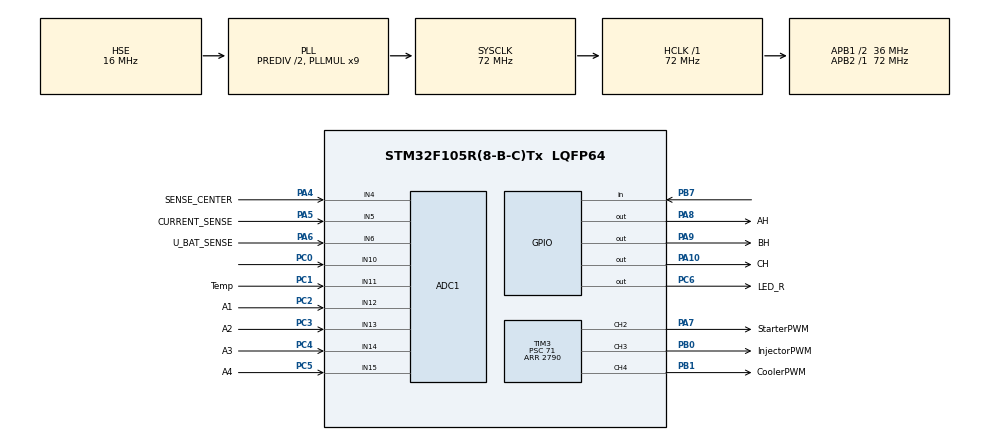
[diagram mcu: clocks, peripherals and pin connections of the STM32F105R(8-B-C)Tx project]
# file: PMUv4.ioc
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ADC1.Channel-11\#ChannelRegularConversion=ADC_CHANNEL_12
ADC1.Channel-12\#ChannelRegularConversion=ADC_CHANNEL_13
ADC1.Channel-13\#ChannelRegularConversion=ADC_CHANNEL_14
ADC1.Channel-14\#ChannelRegularConversion=ADC_CHANNEL_15
ADC1.Channel-15\#ChannelRegularConversion=ADC_CHANNEL_6
ADC1.Channel-16\#ChannelRegularConversion=ADC_CHANNEL_5
ADC1.Channel-17\#ChannelRegularConversion=ADC_CHANNEL_11
ADC1.Channel-18\#ChannelRegularConversion=ADC_CHANNEL_10
ADC1.ContinuousConvMode=ENABLE
ADC1.DataAlign=ADC_DATAALIGN_RIGHT
ADC1.DiscontinuousConvMode=DISABLE
ADC1.EnableAnalogWatchDog=false
ADC1.EnableRegularConversion=ENABLE
ADC1.ExternalTrigConvEdgeChoice=NONE
ADC1.InjNumberOfConversion=0
ADC1.NbrOfConversion=8
ADC1.NbrOfConversionFlag=1
ADC1.Rank-11\#ChannelRegularConversion=1
ADC1.Rank-12\#ChannelRegularConversion=2
ADC1.Rank-13\#ChannelRegularConversion=3
ADC1.Rank-14\#ChannelRegularConversion=4
ADC1.Rank-15\#ChannelRegularConversion=5
ADC1.Rank-16\#ChannelRegularConversion=6
ADC1.Rank-17\#ChannelRegularConversion=7
ADC1.Rank-18\#ChannelRegularConversion=8
ADC1.SamplingTime-11\#ChannelRegularConversion=ADC_SAMPLETIME_1CYCLE_5
ADC1.SamplingTime-12\#ChannelRegularConversion=ADC_SAMPLETIME_1CYCLE_5
ADC1.SamplingTime-13\#ChannelRegularConversion=ADC_SAMPLETIME_1CYCLE_5
ADC1.SamplingTime-14\#ChannelRegularConversion=ADC_SAMPLETIME_1CYCLE_5
ADC1.SamplingTime-15\#ChannelRegularConversion=ADC_SAMPLETIME_1CYCLE_5
ADC1.SamplingTime-16\#ChannelRegularConversion=ADC_SAMPLETIME_1CYCLE_5
ADC1.SamplingTime-17\#ChannelRegularConversion=ADC_SAMPLETIME_1CYCLE_5
ADC1.SamplingTime-18\#ChannelRegularConversion=ADC_SAMPLETIME_1CYCLE_5
ADC1.ScanConvMode=ADC_SCAN_ENABLE
ADC1.master=1
Dma.ADC1.0.Direction=DMA_PERIPH_TO_MEMORY
Dma.ADC1.0.Instance=DMA1_Channel1
Dma.ADC1.0.MemDataAlignment=DMA_MDATAALIGN_WORD
Dma.ADC1.0.MemInc=DMA_MINC_ENABLE
Dma.ADC1.0.Mode=DMA_CIRCULAR
Dma.ADC1.0.PeriphDataAlignment=DMA_PDATAALIGN_HALFWORD
Dma.ADC1.0.PeriphInc=DMA_PINC_DISABLE
Dma.ADC1.0.Priority=DMA_PRIORITY_LOW
Dma.Request0=ADC1
Mcu.Family=STM32F1
Mcu.Name=STM32F105R(8-B-C)Tx
Mcu.Package=LQFP64
NVIC.DMA1_Channel1_IRQn=true\:0\:0\:false\:false\:true
NVIC.PriorityGroup=NVIC_PRIORITYGROUP_4
NVIC.TIM2_IRQn=true\:0\:0\:false\:false\:true
PA10.GPIO_Label=CH
PA10.GPIO_Speed=GPIO_SPEED_FREQ_HIGH
PA10.Signal=GPIO_Output
PA13.Mode=Serial_Wire
PA13.Signal=SYS_JTMS-SWDIO
PA14.Mode=Serial_Wire
PA14.Signal=SYS_JTCK-SWCLK
PA4.GPIO_Label=SENSE_CENTER
PA4.Signal=ADCx_IN4
PA5.GPIO_Label=CURRENT_SENSE
PA5.Signal=ADCx_IN5
PA6.GPIO_Label=U_BAT_SENSE
PA6.Signal=ADCx_IN6
PA7.GPIO_Label=StarterPWM
PA7.Signal=S_TIM3_CH2
PA8.GPIO_Label=AH
PA8.GPIO_Speed=GPIO_SPEED_FREQ_HIGH
PA8.Signal=GPIO_Output
PA9.GPIO_Label=BH
PA9.GPIO_Speed=GPIO_SPEED_FREQ_HIGH
PA9.Signal=GPIO_Output
PB0.GPIO_Label=InjectorPWM
PB0.Signal=S_TIM3_CH3
PB1.GPIO_Label=CoolerPWM
PB1.Signal=S_TIM3_CH4
PB7.GPIO_PuPd=GPIO_PULLDOWN
PB7.Signal=GPIO_Input
PC0.Signal=ADCx_IN10
PC1.GPIO_Label=Temp
PC1.Signal=ADCx_IN11
PC2.GPIO_Label=A1
PC2.Signal=ADCx_IN12
PC3.GPIO_Label=A2
PC3.Signal=ADCx_IN13
PC4.GPIO_Label=A3
PC4.Signal=ADCx_IN14
PC5.GPIO_Label=A4
PC5.Signal=ADCx_IN15
PC6.GPIO_Label=LED_R
PC6.GPIO_Speed=GPIO_SPEED_FREQ_HIGH
PC6.PinState=GPIO_PIN_SET
PC6.Signal=GPIO_Output
PD0-OSC_IN.Mode=HSE-External-Oscillator
PD0-OSC_IN.Signal=RCC_OSC_IN
PD1-OSC_OUT.Mode=HSE-External-Oscillator
PD1-OSC_OUT.Signal=RCC_OSC_OUT
ProjectManager.HeapSize=0x200
ProjectManager.StackSize=0x400
ProjectManager.TargetToolchain=TrueSTUDIO
RCC.ADCPresc=RCC_ADCPCLK2_DIV6
RCC.AHBFreq_Value=72000000
RCC.APB1CLKDivider=RCC_HCLK_DIV2
RCC.APB1Freq_Value=36000000
RCC.APB1TimFreq_Value=72000000
RCC.APB2Freq_Value=72000000
RCC.APB2TimFreq_Value=72000000
RCC.HCLKFreq_Value=72000000
RCC.HSEDivPLL=RCC_HSE_PREDIV_DIV2
RCC.HSE_VALUE=16000000
RCC.HSIState=RCC_HSI_ON
RCC.PLLMUL=RCC_PLL_MUL9
RCC.PLLSourceVirtual=RCC_PLLSOURCE_HSE
RCC.SYSCLKFreq_VALUE=72000000
RCC.SYSCLKSource=RCC_SYSCLKSOURCE_PLLCLK
RCC.USBFreq_Value=48000000
RCC.VDD_VALUE=3.3
SH.ADCx_IN10.0=ADC1_IN10,IN10
SH.ADCx_IN11.0=ADC1_IN11,IN11
SH.ADCx_IN12.0=ADC1_IN12,IN12
SH.ADCx_IN13.0=ADC1_IN13,IN13
SH.ADCx_IN14.0=ADC1_IN14,IN14
SH.ADCx_IN15.0=ADC1_IN15,IN15
SH.ADCx_IN4.0=ADC1_IN4,IN4
SH.ADCx_IN5.0=ADC1_IN5,IN5
SH.ADCx_IN6.0=ADC1_IN6,IN6
SH.S_TIM3_CH2.0=TIM3_CH2,PWM Generation2 CH2
SH.S_TIM3_CH3.0=TIM3_CH3,PWM Generation3 CH3
SH.S_TIM3_CH4.0=TIM3_CH4,PWM Generation4 CH4
TIM2.Period=1000
TIM2.Prescaler=72
TIM3.Channel-PWM\ Generation2\ CH2=TIM_CHANNEL_2
TIM3.Channel-PWM\ Generation3\ CH3=TIM_CHANNEL_3
TIM3.Channel-PWM\ Generation4\ CH4=TIM_CHANNEL_4
TIM3.OCMode_PWM-PWM\ Generation4\ CH4=TIM_OCMODE_PWM1
TIM3.Period=2790
TIM3.Prescaler=71
TIM3.Pulse-Output\ Compare1\ No\ Output=1000
TIM3.Pulse-PWM\ Generation2\ CH2=1000
TIM3.Pulse-PWM\ Generation3\ CH3=1000
TIM3.Pulse-PWM\ Generation4\ CH4=1000
VP_TIM2_VS_ClockSourceINT.Mode=Internal
VP_TIM3_VS_ClockSourceINT.Mode=Internal
VP_TIM3_VS_no_output1.Mode=Output Compare1 No Output
board=PMUv4

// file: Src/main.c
/**
  ******************************************************************************
  * File Name          : main.c
  * Description        : Main program body
  ******************************************************************************
  *
  * COPYRIGHT(c) 2017 STMicroelectronics
  *
  * Redistribution and use in source and binary forms, with or without modification,
  * are permitted provided that the following conditions are met:
  *   1. Redistributions of source code must retain the above copyright notice,
  *      this list of conditions and the following disclaimer.
  *   2. Redistributions in binary form must reproduce the above copyright notice,
  *      this list of conditions and the following disclaimer in the documentation
  *      and/or other materials provided with the distribution.
  *   3. Neither the name of STMicroelectronics nor the names of its contributors
  *      may be used to endorse or promote products derived from this software
  *      without specific prior written permission.
  *
  * THIS SOFTWARE IS PROVIDED BY THE COPYRIGHT HOLDERS AND CONTRIBUTORS "AS IS"
  * AND ANY EXPRESS OR IMPLIED WARRANTIES, INCLUDING, BUT NOT LIMITED TO, THE
  * IMPLIED WARRANTIES OF MERCHANTABILITY AND FITNESS FOR A PARTICULAR PURPOSE ARE
  * DISCLAIMED. IN NO EVENT SHALL THE COPYRIGHT HOLDER OR CONTRIBUTORS BE LIABLE
  * FOR ANY DIRECT, INDIRECT, INCIDENTAL, SPECIAL, EXEMPLARY, OR CONSEQUENTIAL
  * DAMAGES (INCLUDING, BUT NOT LIMITED TO, PROCUREMENT OF SUBSTITUTE GOODS OR
  * SERVICES; LOSS OF USE, DATA, OR PROFITS; OR BUSINESS INTERRUPTION) HOWEVER
  * CAUSED AND ON ANY THEORY OF LIABILITY, WHETHER IN CONTRACT, STRICT LIABILITY,
  * OR TORT (INCLUDING NEGLIGENCE OR OTHERWISE) ARISING IN ANY WAY OUT OF THE USE
  * OF THIS SOFTWARE, EVEN IF ADVISED OF THE POSSIBILITY OF SUCH DAMAGE.
  *
  ******************************************************************************
  */
#include "main.h"
#include "stm32f1xx_hal.h"

/* USER CODE BEGIN Includes */
#include <stdbool.h>
#include <math.h>
/* USER CODE END Includes */

ADC_HandleTypeDef hadc1;
DMA_HandleTypeDef hdma_adc1;

TIM_HandleTypeDef htim2;
TIM_HandleTypeDef htim3;

/* USER CODE BEGIN PV */
/* Private variables ---------------------------------------------------------*/

//cooler
#define COOLER_PWM_OFF 800
#define COOLER_PWM_DUTY 1100//14 A
#define COOLER_PWM_MAX 1800
#define COOLER_PWM_K 5.0
#define COOLER_TEMP_DUTY 40
#define COOLER_TEMP_REG0 60
#define COOLER_DELAY 10
//throttle
#define MIN_Z 920
#define MAX_Z 1600
#define HOLOSTOI 1100

typedef struct{

	uint32_t a1;
	uint32_t a2;
	uint32_t a3;
	uint32_t a4;

	uint32_t u_bat;
	uint32_t current_sense;
	uint32_t temp;

	uint32_t pot;
}ADC_Struct;
ADC_Struct ADC;

typedef struct{

	float a1;
	float a2;
	float a3;
	float a4;

	float current;

	float u_bat;
	float current_sense;
	float current_sense0;
	float temp;

	float pot;

}Param_Struct;
Param_Struct in;
Param_Struct val;
Param_Struct avg;

typedef struct{

	bool init;
	bool startDVS;
	bool charged;
	bool coolerEnabled;
	bool coolerRegulated;
	bool generateing;

}State_Struct;
State_Struct state;

typedef struct{

	float cooler;
	float starter;
	float throttle;
	float start_throttle;

}PWM_Struct;
PWM_Struct pwm;
uint32_t time=0;

typedef struct{

	float target;
	float delta;
	float int_delta;
	float smooth_delta;

}ICE_Struct;
ICE_Struct ice;
/* USER CODE END PV */

void SystemClock_Config(void);
void Error_Handler(void);
static void MX_GPIO_Init(void);
static void MX_DMA_Init(void);
static void MX_TIM3_Init(void);
static void MX_ADC1_Init(void);
static void MX_TIM2_Init(void);

void HAL_TIM_MspPostInit(TIM_HandleTypeDef *htim);

/* USER CODE BEGIN PFP */
/* Private function prototypes -----------------------------------------------*/

/* USER CODE END PFP */

/* USER CODE BEGIN 0 */
void HAL_TIM_PeriodElapsedCallback(TIM_HandleTypeDef *htim)
{
	if (htim->Instance==TIM2) //check if the interrupt comes from TIM3
	{
		in.a1 = ADC.a1*3.3/4095;
		in.a2 = ADC.a2*3.3/4095;
		in.a3 = ADC.a3*3.3/4095;
		in.a4 = ADC.a4*3.3/4095;

		in.u_bat = ADC.u_bat*3.3/4095;
		in.current_sense = ADC.current_sense*3.3/4095;
		in.temp = ADC.temp*3.3/4095.0;
		in.pot = ADC.pot*3.3/4095.0;

		val.current = (in.a1+in.a2+in.a3+in.a4)*30000.0/820.0/1000.0;
		val.u_bat = 25.0/25.8*in.u_bat*(3+22)/3.0;
		if(state.init)
			val.current_sense0 = (val.current_sense0*199.0 +in.current_sense)/200.0;
		if(HAL_GetTick()>2000)
			state.init = false;
		val.current_sense = fabs( (in.current_sense-val.current_sense0)*100.0/20.0*31.0);
		val.temp =  19.48*in.temp*in.temp-20.09*in.temp+2.87;
		val.pot = in.pot*100.0/3.3;

		avg.current = (avg.current*199.0 + val.current)/200.0;
		avg.u_bat = (avg.u_bat*39.0 + val.u_bat)/40.0;
		avg.current_sense = (avg.current_sense*39.0 + val.current_sense)/40.0;
		avg.temp = (avg.temp*199.0 + val.temp)/200.0;
		avg.pot = (avg.pot*199.0 + val.pot)/200.0;
		//
		state.charged = avg.u_bat>4.1*6;
		state.startDVS = avg.pot>50;
		state.coolerEnabled = avg.temp>40.0;
		state.coolerRegulated = avg.temp>60.0;
		state.generateing = avg.current_sense>5;
		//PWM regulation
		//starter
		if(state.startDVS ){//&& tmp<1000)
			pwm.starter = (pwm.starter*299.0 +1400.0)/300.0;
			if(state.generateing)
				pwm.starter = 1000;
		}else
			pwm.starter = 1000;
		//throttle
		ice.delta = ice.target - avg.current_sense;
		ice.smooth_delta = (ice.smooth_delta*99.0 +ice.delta)/100.0;
		ice.int_delta += ice.smooth_delta*0.002;

		if(state.startDVS){
			pwm.throttle = HOLOSTOI;
			if(state.generateing){//zavelsa
				ice.target = 40.0;
				pwm.throttle = (HOLOSTOI+ice.int_delta);//1750*PCA0_MKS;
			}else{
				ice.int_delta = 0;
				ice.target=0;
			}
		}else{
			pwm.throttle = MIN_Z;//1200*PCA0_MKS;//;1200*PCA0_MKS;//0//1320
		}
		//cooler routine
				if(state.coolerEnabled && HAL_GetTick()>=COOLER_DELAY*1000){
					pwm.cooler = (pwm.cooler*299.0 +COOLER_PWM_DUTY)/300.0;
				}else{
					pwm.cooler = COOLER_PWM_OFF;//cooler
				}
				if(state.coolerRegulated && HAL_GetTick()>=COOLER_DELAY*1000){
					pwm.cooler = (pwm.cooler*299.0 +(COOLER_PWM_DUTY+(avg.temp-60.0)*COOLER_PWM_K))/300.0;
				}
				if(pwm.cooler>COOLER_PWM_MAX)
					pwm.cooler = COOLER_PWM_MAX;
		//pwm control
		TIM3->CCR4 = pwm.cooler;
		TIM3->CCR3 = pwm.throttle;
		TIM3->CCR2 = pwm.starter;
		//LED control
		if(state.startDVS)
			HAL_GPIO_WritePin(LED_R_GPIO_Port, LED_R_Pin, GPIO_PIN_SET);
		else if(time>500){
			HAL_GPIO_TogglePin(LED_R_GPIO_Port, LED_R_Pin);
			time=0;
		}
		if(state.coolerEnabled && time>50){
			HAL_GPIO_TogglePin(LED_R_GPIO_Port, LED_R_Pin);
			time=0;
		}
		time++;
	}

}
/* USER CODE END 0 */

int main(void)
{

  /* MCU Configuration----------------------------------------------------------*/

  /* Reset of all peripherals, Initializes the Flash interface and the Systick. */
  HAL_Init();

  /* Configure the system clock */
  SystemClock_Config();

  /* Initialize all configured peripherals */
  MX_GPIO_Init();
  MX_DMA_Init();
  MX_TIM3_Init();
  MX_ADC1_Init();
  MX_TIM2_Init();

  /* USER CODE BEGIN 2 */
  state.init = true;
  HAL_ADC_Start_DMA(&hadc1,&ADC,8);

	HAL_TIM_PWM_Start(&htim3,TIM_CHANNEL_2);
	HAL_TIM_PWM_Start(&htim3,TIM_CHANNEL_3);
	HAL_TIM_PWM_Start(&htim3,TIM_CHANNEL_4);

	HAL_TIM_Base_Start_IT(&htim2);

  /* USER CODE END 2 */

  /* Infinite loop */
  while (1)
  {

  }

}

/** System Clock Configuration
*/
void SystemClock_Config(void)
{

  RCC_OscInitTypeDef RCC_OscInitStruct;
  RCC_ClkInitTypeDef RCC_ClkInitStruct;
  RCC_PeriphCLKInitTypeDef PeriphClkInit;

    /**Initializes the CPU, AHB and APB busses clocks
    */
  RCC_OscInitStruct.OscillatorType = RCC_OSCILLATORTYPE_HSE;
  RCC_OscInitStruct.HSEState = RCC_HSE_ON;
  RCC_OscInitStruct.HSEPredivValue = RCC_HSE_PREDIV_DIV2;
  RCC_OscInitStruct.HSIState = RCC_HSI_ON;
  RCC_OscInitStruct.Prediv1Source = RCC_PREDIV1_SOURCE_HSE;
  RCC_OscInitStruct.PLL.PLLState = RCC_PLL_ON;
  RCC_OscInitStruct.PLL.PLLSource = RCC_PLLSOURCE_HSE;
  RCC_OscInitStruct.PLL.PLLMUL = RCC_PLL_MUL9;
  RCC_OscInitStruct.PLL2.PLL2State = RCC_PLL_NONE;
  if (HAL_RCC_OscConfig(&RCC_OscInitStruct) != HAL_OK)
  {
    Error_Handler();
  }

    /**Initializes the CPU, AHB and APB busses clocks
    */
  RCC_ClkInitStruct.ClockType = RCC_CLOCKTYPE_HCLK|RCC_CLOCKTYPE_SYSCLK
                              |RCC_CLOCKTYPE_PCLK1|RCC_CLOCKTYPE_PCLK2;
  RCC_ClkInitStruct.SYSCLKSource = RCC_SYSCLKSOURCE_PLLCLK;
  RCC_ClkInitStruct.AHBCLKDivider = RCC_SYSCLK_DIV1;
  RCC_ClkInitStruct.APB1CLKDivider = RCC_HCLK_DIV2;
  RCC_ClkInitStruct.APB2CLKDivider = RCC_HCLK_DIV1;

  if (HAL_RCC_ClockConfig(&RCC_ClkInitStruct, FLASH_LATENCY_2) != HAL_OK)
  {
    Error_Handler();
  }

  PeriphClkInit.PeriphClockSelection = RCC_PERIPHCLK_ADC;
  PeriphClkInit.AdcClockSelection = RCC_ADCPCLK2_DIV6;
  if (HAL_RCCEx_PeriphCLKConfig(&PeriphClkInit) != HAL_OK)
  {
    Error_Handler();
  }

    /**Configure the Systick interrupt time
    */
  HAL_SYSTICK_Config(HAL_RCC_GetHCLKFreq()/1000);

    /**Configure the Systick
    */
  HAL_SYSTICK_CLKSourceConfig(SYSTICK_CLKSOURCE_HCLK);

    /**Configure the Systick interrupt time
    */
  __HAL_RCC_PLLI2S_ENABLE();

  /* SysTick_IRQn interrupt configuration */
  HAL_NVIC_SetPriority(SysTick_IRQn, 0, 0);
}

/* ADC1 init function */
static void MX_ADC1_Init(void)
{

  ADC_ChannelConfTypeDef sConfig;

    /**Common config
    */
  hadc1.Instance = ADC1;
  hadc1.Init.ScanConvMode = ADC_SCAN_ENABLE;
  hadc1.Init.ContinuousConvMode = ENABLE;
  hadc1.Init.DiscontinuousConvMode = DISABLE;
  hadc1.Init.ExternalTrigConv = ADC_SOFTWARE_START;
  hadc1.Init.DataAlign = ADC_DATAALIGN_RIGHT;
  hadc1.Init.NbrOfConversion = 8;
  if (HAL_ADC_Init(&hadc1) != HAL_OK)
  {
    Error_Handler();
  }

    /**Configure Regular Channel
    */
  sConfig.Channel = ADC_CHANNEL_12;
  sConfig.Rank = 1;
  sConfig.SamplingTime = ADC_SAMPLETIME_1CYCLE_5;
  if (HAL_ADC_ConfigChannel(&hadc1, &sConfig) != HAL_OK)
  {
    Error_Handler();
  }

    /**Configure Regular Channel
    */
  sConfig.Channel = ADC_CHANNEL_13;
  sConfig.Rank = 2;
  if (HAL_ADC_ConfigChannel(&hadc1, &sConfig) != HAL_OK)
  {
    Error_Handler();
  }

    /**Configure Regular Channel
    */
  sConfig.Channel = ADC_CHANNEL_14;
  sConfig.Rank = 3;
  if (HAL_ADC_ConfigChannel(&hadc1, &sConfig) != HAL_OK)
  {
    Error_Handler();
  }

    /**Configure Regular Channel
    */
  sConfig.Channel = ADC_CHANNEL_15;
  sConfig.Rank = 4;
  if (HAL_ADC_ConfigChannel(&hadc1, &sConfig) != HAL_OK)
  {
    Error_Handler();
  }

    /**Configure Regular Channel
    */
  sConfig.Channel = ADC_CHANNEL_6;
  sConfig.Rank = 5;
  if (HAL_ADC_ConfigChannel(&hadc1, &sConfig) != HAL_OK)
  {
    Error_Handler();
  }

    /**Configure Regular Channel
    */
  sConfig.Channel = ADC_CHANNEL_5;
  sConfig.Rank = 6;
  if (HAL_ADC_ConfigChannel(&hadc1, &sConfig) != HAL_OK)
  {
    Error_Handler();
  }

    /**Configure Regular Channel
    */
  sConfig.Channel = ADC_CHANNEL_11;
  sConfig.Rank = 7;
  if (HAL_ADC_ConfigChannel(&hadc1, &sConfig) != HAL_OK)
  {
    Error_Handler();
  }

    /**Configure Regular Channel
    */
  sConfig.Channel = ADC_CHANNEL_10;
  sConfig.Rank = 8;
  if (HAL_ADC_ConfigChannel(&hadc1, &sConfig) != HAL_OK)
  {
    Error_Handler();
  }

}

/* TIM2 init function */
static void MX_TIM2_Init(void)
{

  TIM_ClockConfigTypeDef sClockSourceConfig;
  TIM_MasterConfigTypeDef sMasterConfig;

  htim2.Instance = TIM2;
  htim2.Init.Prescaler = 72;
  htim2.Init.CounterMode = TIM_COUNTERMODE_UP;
  htim2.Init.Period = 1000;
  htim2.Init.ClockDivision = TIM_CLOCKDIVISION_DIV1;
  if (HAL_TIM_Base_Init(&htim2) != HAL_OK)
  {
    Error_Handler();
  }

  sClockSourceConfig.ClockSource = TIM_CLOCKSOURCE_INTERNAL;
  if (HAL_TIM_ConfigClockSource(&htim2, &sClockSourceConfig) != HAL_OK)
  {
    Error_Handler();
  }

  sMasterConfig.MasterOutputTrigger = TIM_TRGO_RESET;
  sMasterConfig.MasterSlaveMode = TIM_MASTERSLAVEMODE_DISABLE;
  if (HAL_TIMEx_MasterConfigSynchronization(&htim2, &sMasterConfig) != HAL_OK)
  {
    Error_Handler();
  }

}

/* TIM3 init function */
static void MX_TIM3_Init(void)
{

  TIM_ClockConfigTypeDef sClockSourceConfig;
  TIM_MasterConfigTypeDef sMasterConfig;
  TIM_OC_InitTypeDef sConfigOC;

  htim3.Instance = TIM3;
  htim3.Init.Prescaler = 71;
  htim3.Init.CounterMode = TIM_COUNTERMODE_UP;
  htim3.Init.Period = 2790;
  htim3.Init.ClockDivision = TIM_CLOCKDIVISION_DIV1;
  if (HAL_TIM_Base_Init(&htim3) != HAL_OK)
  {
    Error_Handler();
  }

  sClockSourceConfig.ClockSource = TIM_CLOCKSOURCE_INTERNAL;
  if (HAL_TIM_ConfigClockSource(&htim3, &sClockSourceConfig) != HAL_OK)
  {
    Error_Handler();
  }

  if (HAL_TIM_OC_Init(&htim3) != HAL_OK)
  {
    Error_Handler();
  }

  if (HAL_TIM_PWM_Init(&htim3) != HAL_OK)
  {
    Error_Handler();
  }

  sMasterConfig.MasterOutputTrigger = TIM_TRGO_RESET;
  sMasterConfig.MasterSlaveMode = TIM_MASTERSLAVEMODE_DISABLE;
  if (HAL_TIMEx_MasterConfigSynchronization(&htim3, &sMasterConfig) != HAL_OK)
  {
    Error_Handler();
  }

  sConfigOC.OCMode = TIM_OCMODE_TIMING;
  sConfigOC.Pulse = 1000;
  sConfigOC.OCPolarity = TIM_OCPOLARITY_HIGH;
  sConfigOC.OCFastMode = TIM_OCFAST_DISABLE;
  if (HAL_TIM_OC_ConfigChannel(&htim3, &sConfigOC, TIM_CHANNEL_1) != HAL_OK)
  {
    Error_Handler();
  }

  sConfigOC.OCMode = TIM_OCMODE_PWM1;
  if (HAL_TIM_PWM_ConfigChannel(&htim3, &sConfigOC, TIM_CHANNEL_2) != HAL_OK)
  {
    Error_Handler();
  }

  if (HAL_TIM_PWM_ConfigChannel(&htim3, &sConfigOC, TIM_CHANNEL_3) != HAL_OK)
  {
    Error_Handler();
  }

  if (HAL_TIM_PWM_ConfigChannel(&htim3, &sConfigOC, TIM_CHANNEL_4) != HAL_OK)
  {
    Error_Handler();
  }

  HAL_TIM_MspPostInit(&htim3);

}

static void MX_DMA_Init(void)
{
  /* DMA controller clock enable */
  __HAL_RCC_DMA1_CLK_ENABLE();

  /* DMA interrupt init */
  /* DMA1_Channel1_IRQn interrupt configuration */
  HAL_NVIC_SetPriority(DMA1_Channel1_IRQn, 0, 0);
  HAL_NVIC_EnableIRQ(DMA1_Channel1_IRQn);

}

/** Configure pins as
        * Analog
        * Input
        * Output
        * EVENT_OUT
        * EXTI
*/
static void MX_GPIO_Init(void)
{

  GPIO_InitTypeDef GPIO_InitStruct;

  /* GPIO Ports Clock Enable */
  __HAL_RCC_GPIOD_CLK_ENABLE();
  __HAL_RCC_GPIOC_CLK_ENABLE();
  __HAL_RCC_GPIOA_CLK_ENABLE();
  __HAL_RCC_GPIOB_CLK_ENABLE();

  /*Configure GPIO pin Output Level */
  HAL_GPIO_WritePin(LED_R_GPIO_Port, LED_R_Pin, GPIO_PIN_SET);

  /*Configure GPIO pin Output Level */
  HAL_GPIO_WritePin(GPIOA, AH_Pin|BH_Pin|CH_Pin, GPIO_PIN_RESET);

  /*Configure GPIO pin : LED_R_Pin */
  GPIO_InitStruct.Pin = LED_R_Pin;
  GPIO_InitStruct.Mode = GPIO_MODE_OUTPUT_PP;
  GPIO_InitStruct.Speed = GPIO_SPEED_FREQ_HIGH;
  HAL_GPIO_Init(LED_R_GPIO_Port, &GPIO_InitStruct);

  /*Configure GPIO pins : AH_Pin BH_Pin CH_Pin */
  GPIO_InitStruct.Pin = AH_Pin|BH_Pin|CH_Pin;
  GPIO_InitStruct.Mode = GPIO_MODE_OUTPUT_PP;
  GPIO_InitStruct.Speed = GPIO_SPEED_FREQ_HIGH;
  HAL_GPIO_Init(GPIOA, &GPIO_InitStruct);

  /*Configure GPIO pin : PB7 */
  GPIO_InitStruct.Pin = GPIO_PIN_7;
  GPIO_InitStruct.Mode = GPIO_MODE_INPUT;
  GPIO_InitStruct.Pull = GPIO_PULLDOWN;
  HAL_GPIO_Init(GPIOB, &GPIO_InitStruct);

}

void Error_Handler(void)
{
  while(1)
  {
  }
}

/************************ (C) COPYRIGHT STMicroelectronics *****END OF FILE****/
